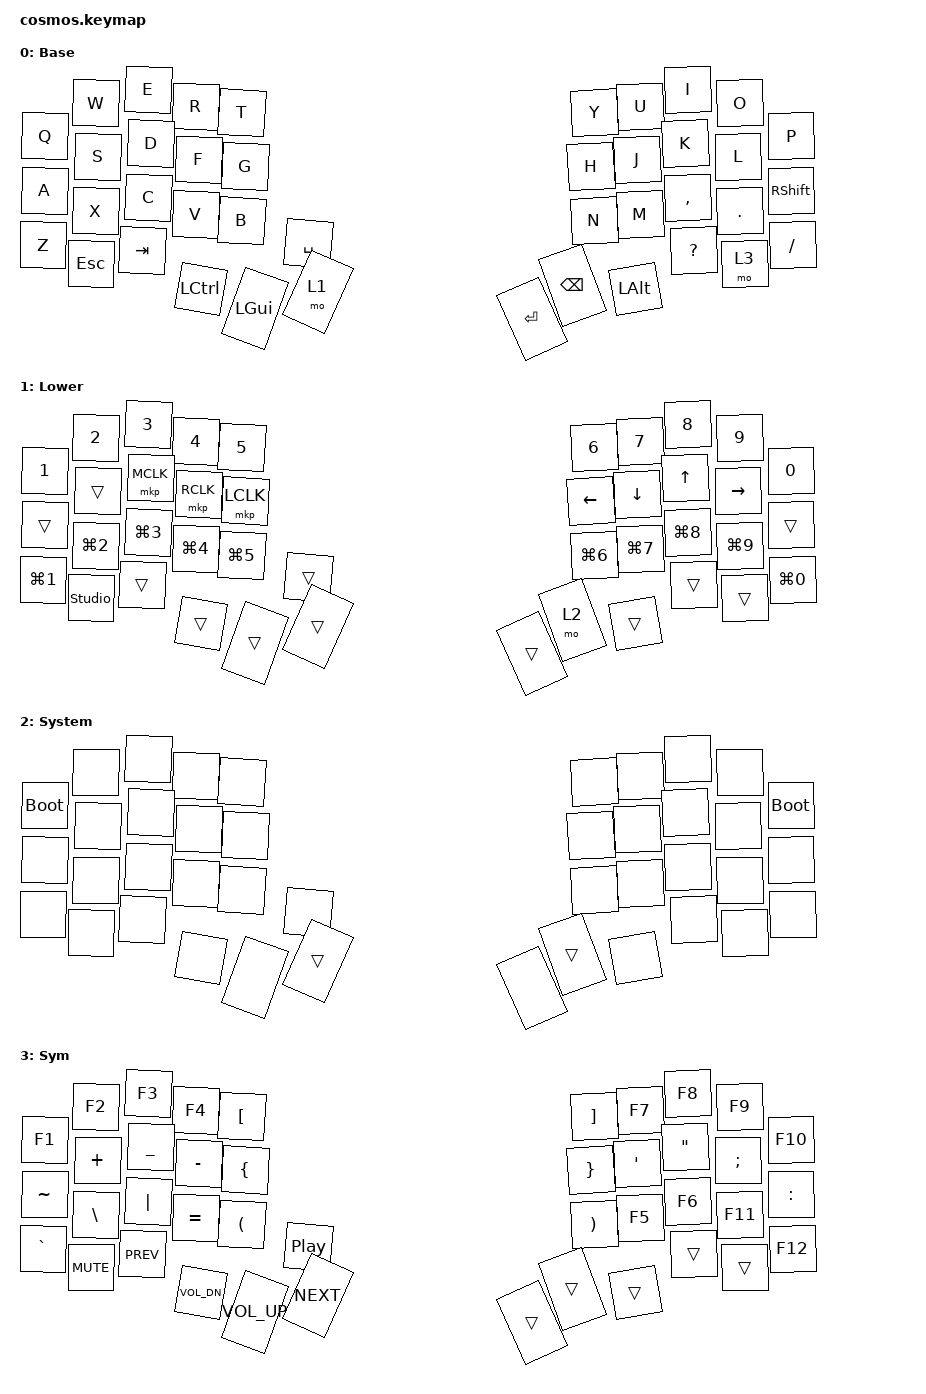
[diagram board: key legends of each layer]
// Translated from designs/cosmos-keyboard/cosmos-41.kls.json (layers 0 + 1).
// Key order follows default_transform in cosmos.dtsi.

#include <behaviors.dtsi>
#include <dt-bindings/zmk/keys.h>
#include <dt-bindings/zmk/pointing.h>

/ {
    keymap {
        compatible = "zmk,keymap";

        base {
            display-name = "Base";
            bindings = <
    &kp Q &kp W &kp E &kp R &kp T                      &kp Y &kp U &kp I     &kp O   &kp P
    &kp A &kp S &kp D &kp F &kp G                      &kp H &kp J &kp K     &kp L   &kp RSHFT
    &kp Z &kp X &kp C &kp V &kp B                      &kp N &kp M &kp COMMA &kp DOT &kp SLASH
          &kp ESC &kp TAB                                          &kp QMARK &mo 3
    &kp LCTRL &kp SPACE &kp LGUI &mo 1                 &kp RET &kp BSPC &kp LALT
            >;
        };

        lower {
            display-name = "Lower";
            // Lower + Esc (left thumb) = studio_unlock (ZMK Studio asks for it before editing).
            // Lower + Backspace (hold both) = System layer (flashing keys), see below.
            // Bottom row = Cmd + the digit directly above it (Z = Cmd+1 ... / = Cmd+0).
            bindings = <
    &kp N1     &kp N2     &kp N3     &kp N4     &kp N5        &kp N6     &kp N7     &kp N8     &kp N9     &kp N0
    &trans     &trans     &mkp MCLK  &mkp RCLK  &mkp LCLK     &kp LEFT   &kp DOWN   &kp UP     &kp RIGHT  &trans
    &kp LG(N1) &kp LG(N2) &kp LG(N3) &kp LG(N4) &kp LG(N5)    &kp LG(N6) &kp LG(N7) &kp LG(N8) &kp LG(N9) &kp LG(N0)
           &studio_unlock &trans                                         &trans &trans
    &trans &trans &trans &trans                        &trans &mo 2 &trans
            >;
        };

        system {
            display-name = "System";
            // Hold Lower + Backspace, then: Q = LEFT half flashing mode, P = RIGHT half flashing mode.
            // &bootloader acts on the half its key is on (same as double-tapping RST+GND).
            // Not a combo on purpose: combos always run reset behaviors on the central (right) half.
            bindings = <
    &bootloader &none &none &none &none                &none &none &none &none &bootloader
    &none &none &none &none &none                      &none &none &none &none &none
    &none &none &none &none &none                      &none &none &none &none &none
          &none &none                                              &none &none
    &none &none &none &trans                           &none &trans &none
            >;
        };

        sym {
            display-name = "Sym";
            // Hold the right key under "." (was ?). F-keys sit on the digit keys (F5/F6 moved to M/, because
            // T/Y hold [ ]). Openers on T/G/B, closers on Y/H/N. Most symbols on the left (Iris habit).
            // Left thumb keys = media, so the free left hand runs them while the right holds Sym.
            bindings = <
    &kp F1    &kp F2    &kp F3    &kp F4    &kp LBKT       &kp RBKT &kp F7  &kp F8   &kp F9   &kp F10
    &kp TILDE &kp PLUS  &kp UNDER &kp MINUS &kp LBRC       &kp RBRC &kp SQT &kp DQT  &kp SEMI &kp COLON
    &kp GRAVE &kp BSLH  &kp PIPE  &kp EQUAL &kp LPAR       &kp RPAR &kp F5  &kp F6   &kp F11  &kp F12
          &kp C_MUTE &kp C_PREV                                            &trans &trans
    &kp C_VOL_DN &kp C_PP &kp C_VOL_UP &kp C_NEXT          &trans &trans &trans
            >;
        };

        // Empty spare layers that ZMK Studio can turn on and fill later.
        extra1 { status = "reserved"; };
        extra2 { status = "reserved"; };
        extra3 { status = "reserved"; };
    };
};
